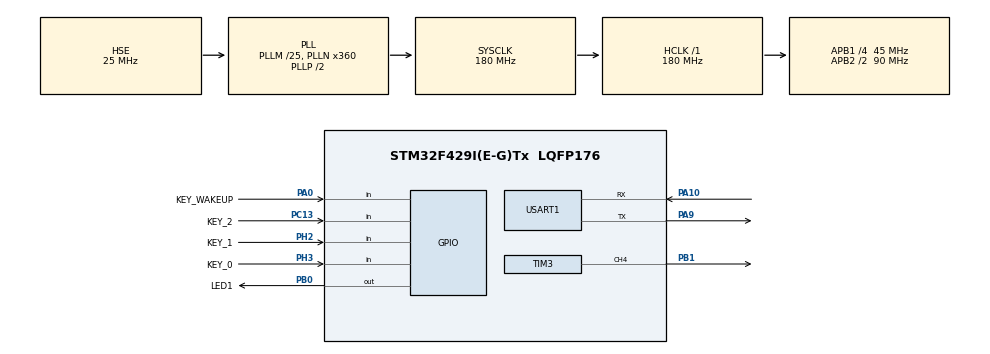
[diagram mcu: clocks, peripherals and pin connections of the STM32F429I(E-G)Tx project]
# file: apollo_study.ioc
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Mcu.Family=STM32F4
Mcu.Name=STM32F429I(E-G)Tx
Mcu.Package=LQFP176
NVIC.PriorityGroup=NVIC_PRIORITYGROUP_2
NVIC.USART1_IRQn=true\:3\:3\:true\:false\:true\:true
PA0/WKUP.GPIO_Label=KEY_WAKEUP
PA0/WKUP.GPIO_PuPd=GPIO_PULLDOWN
PA0/WKUP.Signal=GPIO_Input
PA10.Mode=Asynchronous
PA10.Signal=USART1_RX
PA9.Mode=Asynchronous
PA9.Signal=USART1_TX
PB0.GPIO_Label=LED1
PB0.GPIO_PuPd=GPIO_PULLDOWN
PB0.GPIO_Speed=GPIO_SPEED_FREQ_HIGH
PB0.PinState=GPIO_PIN_SET
PB0.Signal=GPIO_Output
PB1.GPIO_PuPd=GPIO_PULLUP
PB1.GPIO_Speed=GPIO_SPEED_FREQ_HIGH
PB1.Signal=S_TIM3_CH4
PC13.GPIO_Label=KEY_2
PC13.GPIO_PuPd=GPIO_PULLUP
PC13.Signal=GPIO_Input
PH0/OSC_IN.Mode=HSE-External-Oscillator
PH0/OSC_IN.Signal=RCC_OSC_IN
PH1/OSC_OUT.Mode=HSE-External-Oscillator
PH1/OSC_OUT.Signal=RCC_OSC_OUT
PH2.GPIO_Label=KEY_1
PH2.GPIO_PuPd=GPIO_PULLUP
PH2.Signal=GPIO_Input
PH3.GPIO_Label=KEY_0
PH3.GPIO_PuPd=GPIO_PULLUP
PH3.Signal=GPIO_Input
ProjectManager.HeapSize=0x200
ProjectManager.StackSize=0x400
ProjectManager.TargetToolchain=MDK-ARM V5
RCC.48MHZClocksFreq_Value=90000000
RCC.AHBFreq_Value=180000000
RCC.APB1CLKDivider=RCC_HCLK_DIV4
RCC.APB1Freq_Value=45000000
RCC.APB1TimFreq_Value=90000000
RCC.APB2CLKDivider=RCC_HCLK_DIV2
RCC.APB2Freq_Value=90000000
RCC.APB2TimFreq_Value=180000000
RCC.CortexFreq_Value=180000000
RCC.HCLKFreq_Value=180000000
RCC.HSE_VALUE=25000000
RCC.HSI_VALUE=16000000
RCC.LSE_VALUE=32768
RCC.PLLM=25
RCC.PLLN=360
RCC.PLLSourceVirtual=RCC_PLLSOURCE_HSE
RCC.SYSCLKFreq_VALUE=180000000
RCC.SYSCLKSource=RCC_SYSCLKSOURCE_PLLCLK
RCC.VCOOutputFreq_Value=360000000
SH.S_TIM3_CH4.0=TIM3_CH4,PWM Generation4 CH4
TIM3.Channel-PWM\ Generation4\ CH4=TIM_CHANNEL_4
TIM3.OCPolarity_4=TIM_OCPOLARITY_LOW
TIM3.Period=4999
TIM3.Prescaler=89
TIM3.Pulse-PWM\ Generation4\ CH4=2500
USART1.VirtualMode=VM_ASYNC
VP_TIM3_VS_ClockSourceINT.Mode=Internal
board=apollo_study

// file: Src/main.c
/**
  ******************************************************************************
  * @file           : main.c
  * @brief          : Main program body
  ******************************************************************************
  ** This notice applies to any and all portions of this file
  * that are not between comment pairs USER CODE BEGIN and
  * USER CODE END. Other portions of this file, whether
  * inserted by the user or by software development tools
  * are owned by their respective copyright owners.
  *
  * COPYRIGHT(c) 2018 STMicroelectronics
  *
  * Redistribution and use in source and binary forms, with or without modification,
  * are permitted provided that the following conditions are met:
  *   1. Redistributions of source code must retain the above copyright notice,
  *      this list of conditions and the following disclaimer.
  *   2. Redistributions in binary form must reproduce the above copyright notice,
  *      this list of conditions and the following disclaimer in the documentation
  *      and/or other materials provided with the distribution.
  *   3. Neither the name of STMicroelectronics nor the names of its contributors
  *      may be used to endorse or promote products derived from this software
  *      without specific prior written permission.
  *
  * THIS SOFTWARE IS PROVIDED BY THE COPYRIGHT HOLDERS AND CONTRIBUTORS "AS IS"
  * AND ANY EXPRESS OR IMPLIED WARRANTIES, INCLUDING, BUT NOT LIMITED TO, THE
  * IMPLIED WARRANTIES OF MERCHANTABILITY AND FITNESS FOR A PARTICULAR PURPOSE ARE
  * DISCLAIMED. IN NO EVENT SHALL THE COPYRIGHT HOLDER OR CONTRIBUTORS BE LIABLE
  * FOR ANY DIRECT, INDIRECT, INCIDENTAL, SPECIAL, EXEMPLARY, OR CONSEQUENTIAL
  * DAMAGES (INCLUDING, BUT NOT LIMITED TO, PROCUREMENT OF SUBSTITUTE GOODS OR
  * SERVICES; LOSS OF USE, DATA, OR PROFITS; OR BUSINESS INTERRUPTION) HOWEVER
  * CAUSED AND ON ANY THEORY OF LIABILITY, WHETHER IN CONTRACT, STRICT LIABILITY,
  * OR TORT (INCLUDING NEGLIGENCE OR OTHERWISE) ARISING IN ANY WAY OUT OF THE USE
  * OF THIS SOFTWARE, EVEN IF ADVISED OF THE POSSIBILITY OF SUCH DAMAGE.
  *
  ******************************************************************************
  */
#include "main.h"
#include "stm32f4xx_hal.h"

/* USER CODE BEGIN Includes */
#include "sdram.h"
/* USER CODE END Includes */

TIM_HandleTypeDef htim3;

UART_HandleTypeDef huart1;

/* USER CODE BEGIN PV */
/* Private variables ---------------------------------------------------------*/
#define KEY0	HAL_GPIO_ReadPin(KEY_0_GPIO_Port, KEY_0_Pin)
#define KEY1	HAL_GPIO_ReadPin(KEY_1_GPIO_Port, KEY_1_Pin)
#define KEY2	HAL_GPIO_ReadPin(KEY_2_GPIO_Port, KEY_2_Pin)
#define KEYWP	HAL_GPIO_ReadPin(KEY_WAKEUP_GPIO_Port, KEY_WAKEUP_Pin)

#define KEY0_PRESS	1
#define KEY1_PRESS	2
#define KEY2_PRESS	3
#define KEYWP_PRESS	4

#define MS_10	1800000
#define PWM_VAL	4999

/* USER CODE END PV */

void SystemClock_Config(void);
static void MX_GPIO_Init(void);
static void MX_USART1_UART_Init(void);
static void MX_TIM3_Init(void);
void HAL_TIM_MspPostInit(TIM_HandleTypeDef *htim);

/* USER CODE BEGIN PFP */
/* Private function prototypes -----------------------------------------------*/

/* USER CODE END PFP */

/* USER CODE BEGIN 0 */
void delay_ms(unsigned int time)
{
	while(time--);
}

uint8_t key_scan(void)
{
	static uint8_t key_relese = 1;		// 按键空闲标志

	if(key_relese && (KEY0 == 0 || KEY1 == 0 || KEY2 == 0 || KEYWP)) {	// 有按键按下
		delay_ms(MS_10);		// 延时10ms消抖
		key_relese = 0;

		if(KEY0 == 0) return KEY0_PRESS;
		else if(KEY1 == 0)	return KEY1_PRESS;
		else if(KEY2 == 0)	return KEY2_PRESS;
		else if(KEYWP == 1)	return KEYWP_PRESS;
	} else if(KEY0 || KEY1 || KEY2 || KEYWP == 0)
		key_relese = 1;
	return 0;
}

void TIM3_PWM_set_value(uint32_t value)
{
	TIM3->CCR4 = value;

}

/* USER CODE END 0 */

int main(void)
{
  /* USER CODE BEGIN 1 */
	uint8_t key = 0;

  /* USER CODE END 1 */

  /* MCU Configuration----------------------------------------------------------*/

  /* Reset of all peripherals, Initializes the Flash interface and the Systick. */
  HAL_Init();

  /* Configure the system clock */
  SystemClock_Config();

  /* Initialize all configured peripherals */
  MX_GPIO_Init();
  MX_USART1_UART_Init();
  MX_TIM3_Init();
  /* USER CODE BEGIN 2 */
	SDRAM_Init();
  /* USER CODE END 2 */

  /* Infinite loop */
  while (1)
  {

  /* USER CODE BEGIN 3 */
	  key = key_scan();

	  switch(key)
	{
		  case KEYWP_PRESS:
		  {
//			  HAL_GPIO_WritePin(GPIOB, GPIO_PIN_1, GPIO_PIN_SET);	// 灭
//			  HAL_GPIO_WritePin(LED1_GPIO_Port, LED1_Pin, GPIO_PIN_SET);	// 灭
			  TIM3_PWM_set_value(PWM_VAL);
		  }
			  break;
		  case KEY0_PRESS:
		  {
//			  HAL_GPIO_WritePin(GPIOB, GPIO_PIN_1, GPIO_PIN_RESET);	// 亮
//			  HAL_GPIO_WritePin(LED1_GPIO_Port, LED1_Pin, GPIO_PIN_RESET);	// 亮
			  TIM3_PWM_set_value(PWM_VAL / 10);
		  }
			  break;
		  case KEY1_PRESS:
		  {
//			  HAL_GPIO_WritePin(GPIOB, GPIO_PIN_1, GPIO_PIN_RESET);
//			  HAL_GPIO_WritePin(LED1_GPIO_Port, LED1_Pin, GPIO_PIN_SET);
			  TIM3_PWM_set_value(PWM_VAL / 5);
		  }
			  break;
		  case KEY2_PRESS:
		  {
//			  HAL_GPIO_WritePin(GPIOB, GPIO_PIN_1, GPIO_PIN_SET);
//			  HAL_GPIO_WritePin(LED1_GPIO_Port, LED1_Pin, GPIO_PIN_RESET);
			  TIM3_PWM_set_value(PWM_VAL / 2);
		  }
			  break;
	}
	delay_ms(MS_10);

  }
  /* USER CODE END 3 */

}

void SystemClock_Config(void)
{

  RCC_OscInitTypeDef RCC_OscInitStruct;
  RCC_ClkInitTypeDef RCC_ClkInitStruct;

    /**Configure the main internal regulator output voltage
    */
  __HAL_RCC_PWR_CLK_ENABLE();

  __HAL_PWR_VOLTAGESCALING_CONFIG(PWR_REGULATOR_VOLTAGE_SCALE1);

    /**Initializes the CPU, AHB and APB busses clocks
    */
  RCC_OscInitStruct.OscillatorType = RCC_OSCILLATORTYPE_HSE;
  RCC_OscInitStruct.HSEState = RCC_HSE_ON;
  RCC_OscInitStruct.PLL.PLLState = RCC_PLL_ON;
  RCC_OscInitStruct.PLL.PLLSource = RCC_PLLSOURCE_HSE;
  RCC_OscInitStruct.PLL.PLLM = 25;
  RCC_OscInitStruct.PLL.PLLN = 360;
  RCC_OscInitStruct.PLL.PLLP = RCC_PLLP_DIV2;
  RCC_OscInitStruct.PLL.PLLQ = 4;
  if (HAL_RCC_OscConfig(&RCC_OscInitStruct) != HAL_OK)
  {
    _Error_Handler(__FILE__, __LINE__);
  }

    /**Activate the Over-Drive mode
    */
  if (HAL_PWREx_EnableOverDrive() != HAL_OK)
  {
    _Error_Handler(__FILE__, __LINE__);
  }

    /**Initializes the CPU, AHB and APB busses clocks
    */
  RCC_ClkInitStruct.ClockType = RCC_CLOCKTYPE_HCLK|RCC_CLOCKTYPE_SYSCLK
                              |RCC_CLOCKTYPE_PCLK1|RCC_CLOCKTYPE_PCLK2;
  RCC_ClkInitStruct.SYSCLKSource = RCC_SYSCLKSOURCE_PLLCLK;
  RCC_ClkInitStruct.AHBCLKDivider = RCC_SYSCLK_DIV1;
  RCC_ClkInitStruct.APB1CLKDivider = RCC_HCLK_DIV4;
  RCC_ClkInitStruct.APB2CLKDivider = RCC_HCLK_DIV2;

  if (HAL_RCC_ClockConfig(&RCC_ClkInitStruct, FLASH_LATENCY_5) != HAL_OK)
  {
    _Error_Handler(__FILE__, __LINE__);
  }

    /**Configure the Systick interrupt time
    */
  HAL_SYSTICK_Config(HAL_RCC_GetHCLKFreq()/1000);

    /**Configure the Systick
    */
  HAL_SYSTICK_CLKSourceConfig(SYSTICK_CLKSOURCE_HCLK);

  /* SysTick_IRQn interrupt configuration */
  HAL_NVIC_SetPriority(SysTick_IRQn, 0, 0);
}

/* TIM3 init function */
static void MX_TIM3_Init(void)
{

  TIM_ClockConfigTypeDef sClockSourceConfig;
  TIM_MasterConfigTypeDef sMasterConfig;
  TIM_OC_InitTypeDef sConfigOC;

  htim3.Instance = TIM3;
  htim3.Init.Prescaler = 89;
  htim3.Init.CounterMode = TIM_COUNTERMODE_UP;
  htim3.Init.Period = 4999;
  htim3.Init.ClockDivision = TIM_CLOCKDIVISION_DIV1;
  if (HAL_TIM_Base_Init(&htim3) != HAL_OK)
  {
    _Error_Handler(__FILE__, __LINE__);
  }

  sClockSourceConfig.ClockSource = TIM_CLOCKSOURCE_INTERNAL;
  if (HAL_TIM_ConfigClockSource(&htim3, &sClockSourceConfig) != HAL_OK)
  {
    _Error_Handler(__FILE__, __LINE__);
  }

  if (HAL_TIM_PWM_Init(&htim3) != HAL_OK)
  {
    _Error_Handler(__FILE__, __LINE__);
  }

  sMasterConfig.MasterOutputTrigger = TIM_TRGO_RESET;
  sMasterConfig.MasterSlaveMode = TIM_MASTERSLAVEMODE_DISABLE;
  if (HAL_TIMEx_MasterConfigSynchronization(&htim3, &sMasterConfig) != HAL_OK)
  {
    _Error_Handler(__FILE__, __LINE__);
  }

  sConfigOC.OCMode = TIM_OCMODE_PWM1;
  sConfigOC.Pulse = 2500;
  sConfigOC.OCPolarity = TIM_OCPOLARITY_LOW;
  sConfigOC.OCFastMode = TIM_OCFAST_DISABLE;
  if (HAL_TIM_PWM_ConfigChannel(&htim3, &sConfigOC, TIM_CHANNEL_4) != HAL_OK)
  {
    _Error_Handler(__FILE__, __LINE__);
  }

  HAL_TIM_MspPostInit(&htim3);

}

/* USART1 init function */
static void MX_USART1_UART_Init(void)
{

  huart1.Instance = USART1;
  huart1.Init.BaudRate = 115200;
  huart1.Init.WordLength = UART_WORDLENGTH_8B;
  huart1.Init.StopBits = UART_STOPBITS_1;
  huart1.Init.Parity = UART_PARITY_NONE;
  huart1.Init.Mode = UART_MODE_TX_RX;
  huart1.Init.HwFlowCtl = UART_HWCONTROL_NONE;
  huart1.Init.OverSampling = UART_OVERSAMPLING_16;
  if (HAL_UART_Init(&huart1) != HAL_OK)
  {
    _Error_Handler(__FILE__, __LINE__);
  }

}

/** Configure pins as
        * Analog
        * Input
        * Output
        * EVENT_OUT
        * EXTI
*/
static void MX_GPIO_Init(void)
{

  GPIO_InitTypeDef GPIO_InitStruct;

  /* GPIO Ports Clock Enable */
  __HAL_RCC_GPIOC_CLK_ENABLE();
  __HAL_RCC_GPIOH_CLK_ENABLE();
  __HAL_RCC_GPIOA_CLK_ENABLE();
  __HAL_RCC_GPIOB_CLK_ENABLE();

  /*Configure GPIO pin Output Level */
  HAL_GPIO_WritePin(LED1_GPIO_Port, LED1_Pin, GPIO_PIN_SET);

  /*Configure GPIO pin : KEY_2_Pin */
  GPIO_InitStruct.Pin = KEY_2_Pin;
  GPIO_InitStruct.Mode = GPIO_MODE_INPUT;
  GPIO_InitStruct.Pull = GPIO_PULLUP;
  HAL_GPIO_Init(KEY_2_GPIO_Port, &GPIO_InitStruct);

  /*Configure GPIO pin : KEY_WAKEUP_Pin */
  GPIO_InitStruct.Pin = KEY_WAKEUP_Pin;
  GPIO_InitStruct.Mode = GPIO_MODE_INPUT;
  GPIO_InitStruct.Pull = GPIO_PULLDOWN;
  HAL_GPIO_Init(KEY_WAKEUP_GPIO_Port, &GPIO_InitStruct);

  /*Configure GPIO pins : KEY_1_Pin KEY_0_Pin */
  GPIO_InitStruct.Pin = KEY_1_Pin|KEY_0_Pin;
  GPIO_InitStruct.Mode = GPIO_MODE_INPUT;
  GPIO_InitStruct.Pull = GPIO_PULLUP;
  HAL_GPIO_Init(GPIOH, &GPIO_InitStruct);

  /*Configure GPIO pin : LED1_Pin */
  GPIO_InitStruct.Pin = LED1_Pin;
  GPIO_InitStruct.Mode = GPIO_MODE_OUTPUT_PP;
  GPIO_InitStruct.Pull = GPIO_PULLDOWN;
  GPIO_InitStruct.Speed = GPIO_SPEED_FREQ_HIGH;
  HAL_GPIO_Init(LED1_GPIO_Port, &GPIO_InitStruct);

}

void _Error_Handler(char *file, int line)
{
  while(1)
  {
  }
}

/************************ (C) COPYRIGHT STMicroelectronics *****END OF FILE****/
